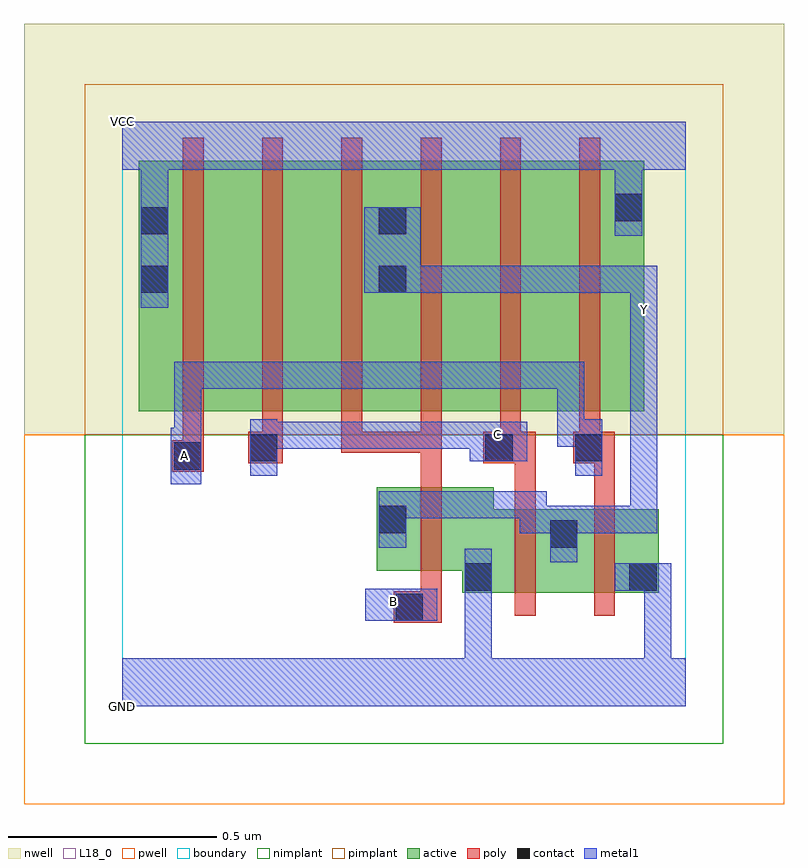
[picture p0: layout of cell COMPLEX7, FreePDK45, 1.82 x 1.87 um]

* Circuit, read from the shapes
.subckt COMPLEX7 A B C GND VCC Y
M1 GND B Y VSUBS nfet w=0.2u l=0.05u
M2 Y C GND VSUBS nfet w=0.2u l=0.05u
M3 GND A Y VSUBS nfet w=0.2u l=0.05u
M4 n1 A VCC n2 pfet w=0.6u l=0.05u
M5 n3 C n1 n2 pfet w=0.6u l=0.05u
M6 Y B n3 n2 pfet w=0.6u l=0.05u
M7 n4 B Y n2 pfet w=0.6u l=0.05u
M8 n5 C n4 n2 pfet w=0.6u l=0.05u
M9 VCC A n5 n2 pfet w=0.6u l=0.05u
.ends

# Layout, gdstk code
import gdstk
lib = gdstk.Library(unit=1e-6, precision=1e-09)
def R(c, l, rs):  # rectangles x0, y0, x1, y1
    for r in rs: c.add(gdstk.rectangle(r[:2], r[2:], *l))
def A(c, l, x, y, w, h, nx, ny, dx, dy):  # array of equal rectangles
    R(c, l, [(x+i*dx, y+j*dy, x+i*dx+w, y+j*dy+h) for i in range(nx) for j in range(ny)])
active = (1, 0)
pwell = (2, 0)
nwell = (3, 0)
nimplant = (4, 0)
pimplant = (5, 0)
poly = (9, 0)
contact = (10, 0)
metal1 = (11, 0)
L18_0 = (18, 0)
boundary = (235, 0)

complex7 = lib.new_cell('COMPLEX7')
R(complex7, active, [(0.815,0.272,1.095,0.472), (0.815,0.272,0.89,0.397), (1.02,0.272,1.095,0.472), (1.02,0.272,1.285,0.472), (1.21,0.272,1.285,0.472), (0.61,0.325,0.89,0.525), (0.61,0.357,0.685,0.525), (0.04,0.707,0.115,1.305), (0.04,0.707,0.265,1.307), (0.265,0.707,0.455,1.307), (0.455,0.707,0.685,1.307), (0.61,0.707,0.835,1.307), (0.61,0.707,0.685,1.2), (0.835,0.707,1.025,1.307), (1.025,0.707,1.25,1.307), (1.175,0.707,1.25,1.305)])
R(complex7, pwell, [(-0.235,-0.235,1.585,0.65)])
R(complex7, nwell, [(-0.235,0.65,1.585,1.635)])
R(complex7, nimplant, [(-0.09,-0.09,1.44,0.65)])
R(complex7, pimplant, [(-0.09,0.65,1.44,1.49)])
A(complex7, poly, 0.335, 0.607, 0.05, 0.095, 5, 1, 0.19, 0)
A(complex7, poly, 0.145, 0.652, 0.05, 0.71, 6, 1, 0.19, 0)
R(complex7, poly, [(0.65,0.2,0.765,0.275), (0.94,0.217,0.99,0.527), (1.13,0.217,1.18,0.527), (0.715,0.225,0.765,0.32), (0.715,0.27,0.765,0.58), (0.94,0.477,0.99,0.632), (1.13,0.477,1.18,0.632), (0.715,0.53,0.765,0.657), (0.12,0.562,0.195,0.637), (0.302,0.582,0.385,0.657), (0.865,0.582,0.99,0.657), (1.08,0.582,1.18,0.657), (0.145,0.587,0.195,0.702), (0.525,0.607,0.575,0.657), (0.525,0.607,0.765,0.657), (0.715,0.607,0.765,0.657), (0.715,0.607,0.765,0.657), (0.715,0.607,0.765,0.657)])
R(complex7, contact, [(0.655,0.205,0.72,0.27), (0.82,0.277,0.885,0.342), (1.215,0.277,1.28,0.342), (1.025,0.38,1.09,0.445), (0.615,0.415,0.68,0.48), (0.125,0.567,0.19,0.632), (0.307,0.587,0.372,0.652), (0.87,0.587,0.935,0.652), (1.085,0.587,1.15,0.652), (0.045,0.99,0.11,1.055), (0.615,0.99,0.68,1.055), (0.045,1.13,0.11,1.195), (0.615,1.13,0.68,1.195), (1.18,1.162,1.245,1.227)])
R(complex7, metal1, [(0,0,1.35,0.115), (0.82,0.05,0.885,0.115), (0.82,0.05,0.885,0.115), (0.82,0.05,0.885,0.115), (0.82,0.05,0.885,0.115), (0.82,0.05,0.885,0.307), (1.25,0.05,1.315,0.342), (0.582,0.205,0.755,0.282), (0.82,0.242,0.885,0.377), (0.82,0.242,0.885,0.307), (0.82,0.242,0.885,0.307), (1.18,0.277,1.315,0.342), (1.25,0.277,1.315,0.342), (1.25,0.277,1.315,0.342), (1.25,0.277,1.315,0.342), (1.25,0.277,1.315,0.342), (1.25,0.277,1.315,0.342), (1.25,0.277,1.315,0.342), (1.025,0.345,1.09,0.48), (0.615,0.38,0.68,0.515), (0.952,0.415,1.09,0.48), (0.952,0.415,1.017,0.515), (1.025,0.415,1.155,0.48), (1.09,0.415,1.155,0.48), (1.09,0.415,1.282,0.48), (1.217,0.415,1.282,0.48), (1.217,0.415,1.282,0.947), (0.615,0.45,0.68,0.515), (0.615,0.45,0.68,0.515), (0.615,0.45,0.952,0.515), (0.887,0.45,0.952,0.515), (0.887,0.45,1.017,0.515), (0.117,0.532,0.19,0.667), (0.307,0.552,0.372,0.687), (1.085,0.552,1.15,0.687), (0.832,0.587,0.97,0.682), (0.125,0.602,0.19,0.667), (0.125,0.602,0.19,0.667), (0.125,0.602,0.19,0.825), (0.307,0.617,0.372,0.682), (0.307,0.617,0.372,0.682), (0.307,0.617,0.51,0.682), (0.445,0.617,0.51,0.682), (0.445,0.617,0.647,0.682), (0.582,0.617,0.647,0.682), (0.582,0.617,0.647,0.682), (0.582,0.617,0.647,0.682), (0.582,0.617,0.897,0.682), (0.832,0.617,0.897,0.682), (0.832,0.617,0.897,0.682), (1.042,0.622,1.107,0.687), (1.042,0.622,1.15,0.687), (1.042,0.622,1.107,0.825), (0.125,0.76,0.19,0.825), (0.125,0.76,0.372,0.825), (0.307,0.76,0.372,0.825), (0.307,0.76,0.372,0.825), (0.307,0.76,0.372,0.825), (0.307,0.76,0.51,0.825), (0.445,0.76,0.51,0.825), (0.445,0.76,0.747,0.825), (0.682,0.76,0.747,0.825), (0.682,0.76,0.747,0.825), (0.682,0.76,0.747,0.825), (0.682,0.76,0.892,0.825), (0.827,0.76,0.892,0.825), (0.827,0.76,0.892,0.825), (0.827,0.76,0.892,0.825), (0.827,0.76,1.107,0.825), (1.042,0.76,1.107,0.825), (1.217,0.882,1.282,1.017), (1.217,0.952,1.282,1.055), (0.045,0.955,0.11,1.23), (0.58,0.99,0.715,1.195), (0.65,0.99,0.715,1.055), (0.65,0.99,0.715,1.055), (0.65,0.99,0.892,1.055), (0.827,0.99,0.892,1.055), (0.827,0.99,0.892,1.055), (0.827,0.99,0.892,1.055), (0.827,0.99,1.107,1.055), (1.042,0.99,1.107,1.055), (1.042,0.99,1.282,1.055), (1.217,0.99,1.282,1.055), (1.217,0.99,1.282,1.055), (1.217,0.99,1.282,1.055), (1.217,0.99,1.282,1.055), (1.217,0.99,1.282,1.055), (1.18,1.127,1.245,1.262), (0.045,1.165,0.11,1.35), (1.18,1.197,1.245,1.35), (0,1.285,1.35,1.4)])
R(complex7, L18_0, [(0,0,1.35,0.115), (0.82,0.05,0.885,0.115), (0.82,0.05,0.885,0.115), (0.82,0.05,0.885,0.115), (0.82,0.05,0.885,0.115), (0.82,0.05,0.885,0.307), (1.25,0.05,1.315,0.342), (0.582,0.205,0.755,0.282), (0.617,0.217,0.682,0.282), (0.82,0.242,0.885,0.307), (0.82,0.242,0.885,0.307), (0.82,0.242,0.885,0.377), (1.18,0.277,1.315,0.342), (1.25,0.277,1.315,0.342), (1.25,0.277,1.315,0.342), (1.25,0.277,1.315,0.342), (1.25,0.277,1.315,0.342), (1.25,0.277,1.315,0.342), (1.25,0.277,1.315,0.342), (1.025,0.345,1.09,0.48), (0.615,0.38,0.68,0.515), (0.952,0.415,1.017,0.515), (0.952,0.415,1.09,0.48), (1.025,0.415,1.155,0.48), (1.09,0.415,1.155,0.48), (1.09,0.415,1.282,0.48), (1.217,0.415,1.282,0.48), (1.217,0.415,1.282,0.947), (0.615,0.45,0.68,0.515), (0.615,0.45,0.68,0.515), (0.615,0.45,0.952,0.515), (0.887,0.45,0.952,0.515), (0.887,0.45,1.017,0.515), (0.117,0.532,0.19,0.667), (0.307,0.552,0.372,0.687), (1.085,0.552,1.15,0.687), (0.117,0.567,0.182,0.632), (0.832,0.587,0.97,0.682), (0.125,0.602,0.19,0.667), (0.125,0.602,0.19,0.667), (0.125,0.602,0.19,0.825), (0.307,0.617,0.372,0.682), (0.307,0.617,0.372,0.682), (0.307,0.617,0.51,0.682), (0.445,0.617,0.51,0.682), (0.445,0.617,0.647,0.682), (0.582,0.617,0.647,0.682), (0.582,0.617,0.647,0.682), (0.582,0.617,0.647,0.682), (0.582,0.617,0.897,0.682), (0.832,0.617,0.897,0.682), (0.832,0.617,0.897,0.682), (0.867,0.617,0.932,0.682), (1.042,0.622,1.107,0.687), (1.042,0.622,1.107,0.825), (1.042,0.622,1.15,0.687), (0.125,0.76,0.19,0.825), (0.125,0.76,0.372,0.825), (0.307,0.76,0.372,0.825), (0.307,0.76,0.372,0.825), (0.307,0.76,0.372,0.825), (0.307,0.76,0.51,0.825), (0.445,0.76,0.51,0.825), (0.445,0.76,0.747,0.825), (0.682,0.76,0.747,0.825), (0.682,0.76,0.747,0.825), (0.682,0.76,0.747,0.825), (0.682,0.76,0.892,0.825), (0.827,0.76,0.892,0.825), (0.827,0.76,0.892,0.825), (0.827,0.76,0.892,0.825), (0.827,0.76,1.107,0.825), (1.042,0.76,1.107,0.825), (1.217,0.882,1.282,1.017), (1.217,0.917,1.282,0.982), (1.217,0.952,1.282,1.055), (0.045,0.955,0.11,1.23), (0.58,0.99,0.715,1.195), (0.65,0.99,0.715,1.055), (0.65,0.99,0.715,1.055), (0.65,0.99,0.892,1.055), (0.827,0.99,0.892,1.055), (0.827,0.99,0.892,1.055), (0.827,0.99,0.892,1.055), (0.827,0.99,1.107,1.055), (1.042,0.99,1.107,1.055), (1.042,0.99,1.282,1.055), (1.217,0.99,1.282,1.055), (1.217,0.99,1.282,1.055), (1.217,0.99,1.282,1.055), (1.217,0.99,1.282,1.055), (1.217,0.99,1.282,1.055), (1.18,1.127,1.245,1.262), (0.045,1.165,0.11,1.35), (1.18,1.197,1.245,1.35), (0,1.285,1.35,1.4)])
R(complex7, boundary, [(0,0,1.35,1.4)])
complex7.add(gdstk.Label('A', (0.15,0.6), layer=11, texttype=0))
complex7.add(gdstk.Label('B', (0.65,0.25), layer=11, texttype=0))
complex7.add(gdstk.Label('C', (0.9,0.65), layer=11, texttype=0))
complex7.add(gdstk.Label('Y', (1.25,0.95), layer=11, texttype=0))
complex7.add(gdstk.Label('VCC', (0,1.4), layer=11, texttype=0))
complex7.add(gdstk.Label('GND', (0,0), layer=11, texttype=0))

lib.write_gds('COMPLEX7.gds')
